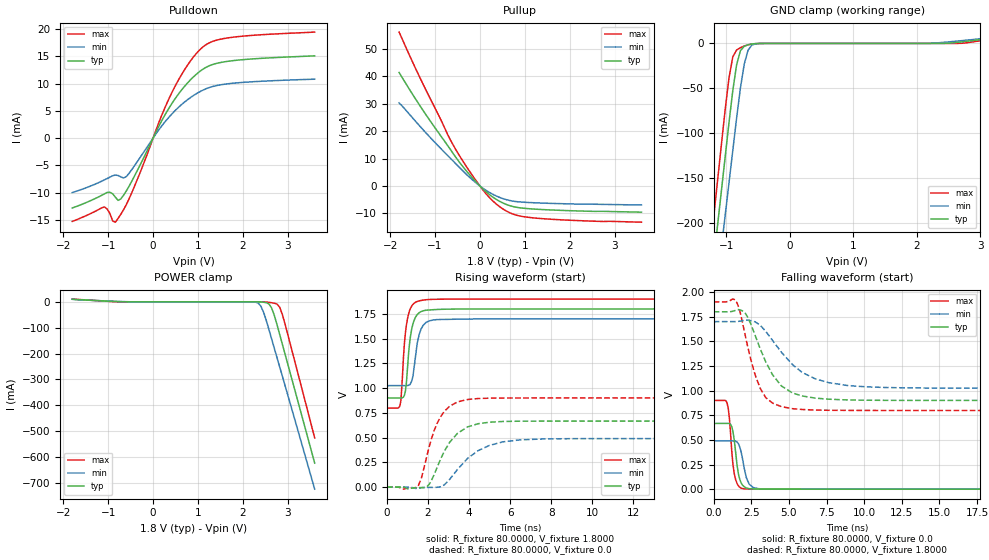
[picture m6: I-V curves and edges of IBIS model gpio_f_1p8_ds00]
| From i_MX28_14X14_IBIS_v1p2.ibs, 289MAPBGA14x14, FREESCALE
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|   Model gpio_f_1p8_ds00
| This model was characterised for following simulation conditions:
| Spice Models:
|  - Typ Condition
|   ..../backup/r63536/IBIS/GPIO_IBIS/io_dig_gpio_f_bs_ir_1p8_4mA/typ.model
|  - Min Condition
|   ..../backup/r63536/IBIS/GPIO_IBIS/io_dig_gpio_f_bs_ir_1p8_4mA/wcs.model
|  - Max Condition
|   ..../backup/r63536/IBIS/GPIO_IBIS/io_dig_gpio_f_bs_ir_1p8_4mA/bcs.model
[Model]  gpio_f_1p8_ds00
Model_type I/O
Polarity   Non-Inverting
Enable   Active-Low
Vinl =   0.3600V
Vinh =   1.4400V
Vmeas =  0.9000V
Cref =   0.0F
Rref =   80.0000
Vref =   0.9000V
C_comp   2.0096pF   1.8468pF   2.2015pF
[Temperature Range]   25.0000   0.1050k   -40.0000
[Voltage Range]   1.8000V   1.7000V   1.9000V
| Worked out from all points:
|   slope of the pulldown table from 0 to 0.27 V, typ, clamps not added: 62.3 ohm
|   slope of the pullup table from 0 to 0.27 V, typ, clamps not added: 70.2 ohm
|   GND clamp passes 1 mA (typ) near -0.63 V on its own axis
|   POWER clamp passes 1 mA (typ) near -0.81 V on its own axis
|   rising waveform, R_fixture 80.0000, V_fixture 1.8000: 20-80 % time 275ps typ, 317ps min, 258ps max; typ from 0.901 V to 1.8 V
|   rising waveform, R_fixture 80.0000, V_fixture 0.0: 20-80 % time 1.08ns typ, 1.56ns min, 857ps max; typ from 0 V to 0.667 V
|   falling waveform, R_fixture 80.0000, V_fixture 0.0: 20-80 % time 345ps typ, 424ps min, 305ps max; typ from 0.667 V to 0 V
|   falling waveform, R_fixture 80.0000, V_fixture 1.8000: 20-80 % time 1.72ns typ, 2.57ns min, 1.18ns max; typ from 1.8 V to 0.901 V
[Pulldown]
|Voltage   I(typ)   I(min)   I(max)
-1.8V     -12.82mA   -9.997mA   -15.28mA
-1.08V    -10.22mA   -7.645mA   -12.63mA
-960mV    -9.942mA   -7.157mA   -13.87mA
-900mV    -10.21mA   -6.905mA   -15.22mA
-840mV    -10.83mA   -6.778mA   -15.43mA
-720mV    -11.16mA   -7.099mA   -13.99mA
-600mV    -9.747mA   -7.085mA   -12.26mA
420mV     6.362mA    4.443mA    8.375mA
780mV     10.24mA    7.126mA    13.54mA
1.14V     12.8mA     8.915mA    16.92mA
1.8V      14.23mA    10.09mA    18.54mA
3.6V      15.1mA     10.8mA     19.46mA
[Pullup]
|Voltage   I(typ)   I(min)   I(max)
-1.8V     41.39mA    30.31mA    56.13mA
-1.32V    28.89mA    21.5mA     38.97mA
-600mV    11.94mA    9.167mA    15.07mA
-300mV    5.466mA    4.224mA    7.074mA
0V        209.6fA    1.59pA     289.9fA
180mV     -2.717mA   -2.035mA   -3.639mA
420mV     -5.429mA   -4.043mA   -7.316mA
720mV     -7.437mA   -5.481mA   -10.14mA
900mV     -7.989mA   -5.842mA   -10.99mA
1.14V     -8.351mA   -6.076mA   -11.55mA
2.22V     -9.128mA   -6.62mA    -12.65mA
3.6V      -9.555mA   -6.94mA    -13.21mA
[GND_clamp]
|Voltage   I(typ)   I(min)   I(max)
-1.8V     -623.5mA   -663.3mA   -592.8mA
-1.26V    -278.7mA   -336mA     -232.4mA
-1.2V     -240.5mA   -299.7mA   -192.4mA
-1.14V    -202.3mA   -263.5mA   -152.5mA
-1.02V    -126mA     -191.1mA   -73.24mA
-960mV    -87.94mA   -155mA     -38.33mA
-900mV    -52.23mA   -118.9mA   -14.88mA
-780mV    -8.015mA   -49.49mA   -4.726mA
-660mV    -1.464mA   -7.459mA   -1.599mA
-540mV    -222.1uA   -464.6uA   -207.2uA
2.22V     3.773uA    177uA      3.508uA
3.6V      9.707mA    15.14mA    9.55mA
[POWER_clamp]
|Voltage   I(typ)   I(min)   I(max)
-1.8V     9.707mA    9.982mA    10.63mA
-780mV    753.5uA    1.571mA    75.84uA
2.16V     -4.982uA   -71.39uA   -3.24uA
2.34V     -222.1uA   -4.783mA   -14.67uA
2.4V      -643.4uA   -16.48mA   -74.35uA
2.46V     -1.464mA   -39.69mA   -323.9uA
2.58V     -8.015mA   -106.9mA   -1.997mA
2.64V     -23.64mA   -142.9mA   -3.463mA
2.76V     -87.94mA   -215.2mA   -8.71mA
2.82V     -126mA     -251.4mA   -20.79mA
2.94V     -202.3mA   -323.9mA   -86.1mA
3.6V      -623.5mA   -724mA     -526mA
[Ramp]
| variable   typ   min   max
dV/dt_r  0.4001/1.0820n   0.2940/1.4893n   0.5403/0.8537n
dV/dt_f  0.5396/1.7226n   0.4049/2.5434n   0.6610/1.1762n
R_load = 80.0000
[Rising Waveform]
R_fixture= 80.0000
V_fixture= 1.8000
V_fixture_min= 1.7000
V_fixture_max= 1.9000
|time   V(typ)   V(min)   V(max)
0s        900.6mV    1.025V     798.4mV
637.3ps   900.5mV    1.025V     827.3mV
680ps     900.5mV    1.025V     877.4mV
849.4ps   927.2mV    1.025V     1.451V
999.2ps   1.2V       1.026V     1.701V
1.21ns    1.603V     1.075V     1.831V
1.474ns   1.744V     1.454V     1.876V
1.665ns   1.774V     1.599V     1.886V
2.656ns   1.796V     1.694V     1.899V
25ns      1.8V       1.7V       1.9V
[Rising Waveform]
R_fixture= 80.0000
V_fixture= 0.0
V_fixture_min= 0.0
V_fixture_max= 0.0
|time   V(typ)   V(min)   V(max)
0s        6.555nV    33.78nV    8.36nV
1.52ns    -5.572mV   -10.9mV    10.04mV
1.669ns   -4.748mV   -6.645mV   84.4mV
2.058ns   28.15mV    -3.409mV   408.9mV
2.603ns   278.8mV    2.68mV     708.2mV
3.051ns   452.2mV    77.37mV    817.1mV
3.928ns   608.5mV    290.3mV    885.1mV
4.994ns   655.7mV    421.4mV    898.4mV
6.493ns   666mV      477.2mV    900.4mV
25ns      666.9mV    490mV      900.5mV
[Falling Waveform]
R_fixture= 80.0000
V_fixture= 0.0
V_fixture_min= 0.0
V_fixture_max= 0.0
|time   V(typ)   V(min)   V(max)
0s        666.9mV    490mV      900.5mV
880.9ps   667.2mV    490mV      876.1mV
1.045ns   665.8mV    490mV      707.4mV
1.194ns   633.7mV    490.2mV    386.9mV
1.363ns   498mV      490.2mV    157.6mV
1.643ns   150.9mV    460.2mV    32.3mV
1.918ns   39.66mV    302.1mV    5.921mV
2.354ns   4.844mV    50.6mV     1.491mV
2.928ns   1.308mV    5.307mV    883.5uV
25ns      9.147nV    72.26nV    8.568nV
[Falling Waveform]
R_fixture= 80.0000
V_fixture= 1.8000
V_fixture_min= 1.7000
V_fixture_max= 1.9000
|time   V(typ)   V(min)   V(max)
0s        1.8V       1.7V       1.9V
1.457ns   1.815V     1.7V       1.913V
1.75ns    1.818V     1.705V     1.795V
2.229ns   1.753V     1.716V     1.465V
3.088ns   1.424V     1.663V     1.022V
3.454ns   1.292V     1.602V     929.1mV
4.499ns   1.047V     1.389V     837.1mV
5.886ns   945.6mV    1.183V     808.4mV
8.863ns   905.5mV    1.052V     799.3mV
25ns      900.6mV    1.025V     798.4mV
